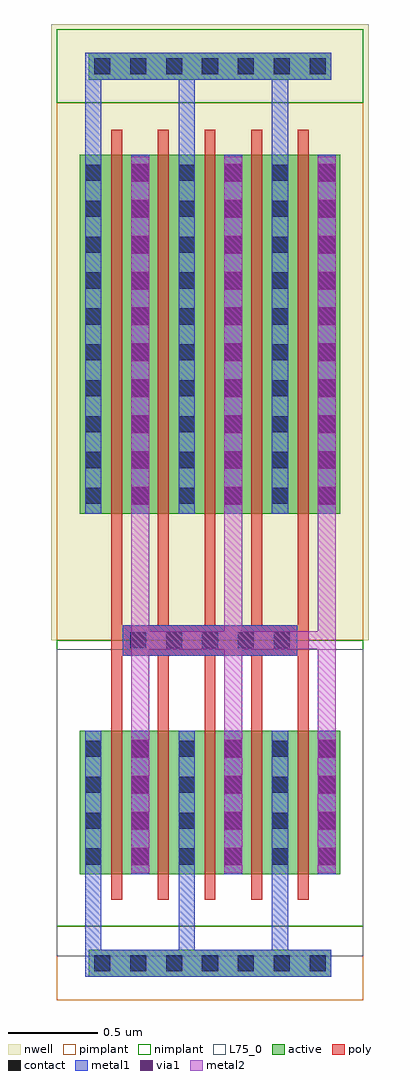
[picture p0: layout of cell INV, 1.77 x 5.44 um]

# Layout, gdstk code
import gdstk
lib = gdstk.Library(unit=1e-6, precision=1e-09)
def R(c, l, rs):  # rectangles x0, y0, x1, y1
    for r in rs: c.add(gdstk.rectangle(r[:2], r[2:], *l))
def A(c, l, x, y, w, h, nx, ny, dx, dy):  # array of equal rectangles
    R(c, l, [(x+i*dx, y+j*dy, x+i*dx+w, y+j*dy+h) for i in range(nx) for j in range(ny)])
nwell = (3, 0)
active = (6, 0)
poly = (17, 0)
pimplant = (25, 0)
nimplant = (26, 0)
contact = (30, 0)
metal1 = (31, 0)
metal2 = (32, 0)
via1 = (51, 0)
L75_0 = (75, 0)

viamet12met2onnmosininv = lib.new_cell('ViaMet12Met2OnNMOSInINV')
R(viamet12met2onnmosininv, metal1, [(-0.05,-0.39,0.05,0.39)])
R(viamet12met2onnmosininv, metal2, [(-0.05,-0.39,0.05,0.39)])
A(viamet12met2onnmosininv, via1, -0.05, -0.35, 0.1, 0.1, 1, 4, 0, 0.2)

nbodycontactininv = lib.new_cell('NbodyContactInINV')
R(nbodycontactininv, active, [(-0.675,-0.075,0.675,0.075)])
R(nbodycontactininv, nimplant, [(-0.805,-0.205,0.805,0.205)])
A(nbodycontactininv, contact, -0.645, -0.045, 0.09, 0.09, 7, 1, 0.2, 0)
R(nbodycontactininv, metal1, [(-0.675,-0.075,0.675,0.075)])

pmosininv = lib.new_cell('PMOSInINV')
R(pmosininv, active, [(-0.725,-1,0.725,1)])
A(pmosininv, poly, -0.55, -1.14, 0.06, 2.28, 5, 1, 0.26, 0)
R(pmosininv, pimplant, [(-0.855,-1.29,0.855,1.29)])
A(pmosininv, contact, -0.695, -0.945, 0.09, 0.09, 6, 10, 0.26, 0.2)
A(pmosininv, metal1, -0.695, -1, 0.09, 2, 6, 1, 0.26, 0)

viamet12met2onpmosininv = lib.new_cell('ViaMet12Met2OnPMOSInINV')
R(viamet12met2onpmosininv, metal1, [(-0.05,-0.99,0.05,0.99)])
R(viamet12met2onpmosininv, metal2, [(-0.05,-0.99,0.05,0.99)])
A(viamet12met2onpmosininv, via1, -0.05, -0.95, 0.1, 0.1, 1, 10, 0, 0.2)

nmosininv = lib.new_cell('NMOSInINV')
R(nmosininv, active, [(-0.725,-0.4,0.725,0.4)])
A(nmosininv, poly, -0.55, -0.54, 0.06, 1.08, 5, 1, 0.26, 0)
R(nmosininv, nimplant, [(-0.855,-0.69,0.855,0.69)])
A(nmosininv, contact, -0.695, -0.345, 0.09, 0.09, 6, 4, 0.26, 0.2)
A(nmosininv, metal1, -0.695, -0.4, 0.09, 0.8, 6, 1, 0.26, 0)
R(nmosininv, L75_0, [(-0.855,-0.855,0.855,0.855)])

viapoly2met1ininv = lib.new_cell('ViaPoly2Met1InINV')
R(viapoly2met1ininv, poly, [(-0.485,-0.085,0.485,0.085)])
A(viapoly2met1ininv, contact, -0.445, -0.045, 0.09, 0.09, 5, 1, 0.2, 0)
R(viapoly2met1ininv, metal1, [(-0.485,-0.085,0.485,0.085)])

pbodycontactininv = lib.new_cell('PbodyContactInINV')
R(pbodycontactininv, active, [(-0.675,-0.075,0.675,0.075)])
R(pbodycontactininv, pimplant, [(-0.805,-0.205,0.805,0.205)])
A(pbodycontactininv, contact, -0.645, -0.045, 0.09, 0.09, 7, 1, 0.2, 0)
R(pbodycontactininv, metal1, [(-0.675,-0.075,0.675,0.075)])

inv = lib.new_cell('INV')
R(inv, nwell, [(-0.885,1.8,0.885,5.235)])
R(inv, poly, [(-0.52,1.715,0.52,1.885)])
R(inv, pimplant, [(-0.855,-0.205,0.855,0.205), (-0.855,1.8,0.855,4.795)])
R(inv, nimplant, [(-0.855,0.205,0.855,1.8), (-0.855,4.795,0.855,5.205)])
A(inv, metal1, -0.44, 0.495, 0.1, 0.8, 3, 1, 0.52, 0)
A(inv, metal1, -0.44, 2.505, 0.1, 2, 3, 1, 0.52, 0)
inv.add(gdstk.FlexPath([(-0.65,0.895),(-0.65,-0.075)], 0.09, ends="flush", simple_path=True, layer=31, datatype=0))  # metal1
inv.add(gdstk.FlexPath([(-0.13,0.895),(-0.13,-0.075)], 0.09, ends="flush", simple_path=True, layer=31, datatype=0))  # metal1
inv.add(gdstk.FlexPath([(0.39,0.895),(0.39,-0.075)], 0.09, ends="flush", simple_path=True, layer=31, datatype=0))  # metal1
inv.add(gdstk.FlexPath([(-0.39,1.8),(0.65,1.8)], 0.1, ends="flush", simple_path=True, layer=32, datatype=0))  # metal2
inv.add(gdstk.FlexPath([(-0.52,0.895),(-0.52,3.505)], 0.06, ends="flush", simple_path=True, layer=17, datatype=0))  # poly
inv.add(gdstk.FlexPath([(-0.26,0.895),(-0.26,3.505)], 0.06, ends="flush", simple_path=True, layer=17, datatype=0))  # poly
inv.add(gdstk.FlexPath([(0,0.895),(0,3.505)], 0.06, ends="flush", simple_path=True, layer=17, datatype=0))  # poly
inv.add(gdstk.FlexPath([(0.26,0.895),(0.26,3.505)], 0.06, ends="flush", simple_path=True, layer=17, datatype=0))  # poly
inv.add(gdstk.FlexPath([(0.52,0.895),(0.52,3.505)], 0.06, ends="flush", simple_path=True, layer=17, datatype=0))  # poly
inv.add(gdstk.FlexPath([(-0.39,3.505),(-0.39,0.895)], 0.1, ends="flush", simple_path=True, layer=32, datatype=0))  # metal2
inv.add(gdstk.FlexPath([(0.13,3.505),(0.13,0.895)], 0.1, ends="flush", simple_path=True, layer=32, datatype=0))  # metal2
inv.add(gdstk.FlexPath([(0.65,3.505),(0.65,0.895)], 0.1, ends="flush", simple_path=True, layer=32, datatype=0))  # metal2
inv.add(gdstk.FlexPath([(-0.65,3.505),(-0.65,5.075)], 0.09, ends="flush", simple_path=True, layer=31, datatype=0))  # metal1
inv.add(gdstk.FlexPath([(-0.13,3.505),(-0.13,5.075)], 0.09, ends="flush", simple_path=True, layer=31, datatype=0))  # metal1
inv.add(gdstk.FlexPath([(0.39,3.505),(0.39,5.075)], 0.09, ends="flush", simple_path=True, layer=31, datatype=0))  # metal1
inv.add(gdstk.Reference(viamet12met2onnmosininv, (-0.39,0.895)))
inv.add(gdstk.Reference(viamet12met2onnmosininv, (0.13,0.895)))
inv.add(gdstk.Reference(viamet12met2onnmosininv, (0.65,0.895)))
inv.add(gdstk.Reference(nbodycontactininv, (0,5)))
inv.add(gdstk.Reference(pmosininv, (0,3.505)))
inv.add(gdstk.Reference(viamet12met2onpmosininv, (-0.39,3.505)))
inv.add(gdstk.Reference(viamet12met2onpmosininv, (0.13,3.505)))
inv.add(gdstk.Reference(viamet12met2onpmosininv, (0.65,3.505)))
inv.add(gdstk.Reference(nmosininv, (0,0.895)))
inv.add(gdstk.Reference(viapoly2met1ininv, (0,1.8)))
inv.add(gdstk.Reference(pbodycontactininv, (0,0)))

lib.write_gds('INV.gds')
